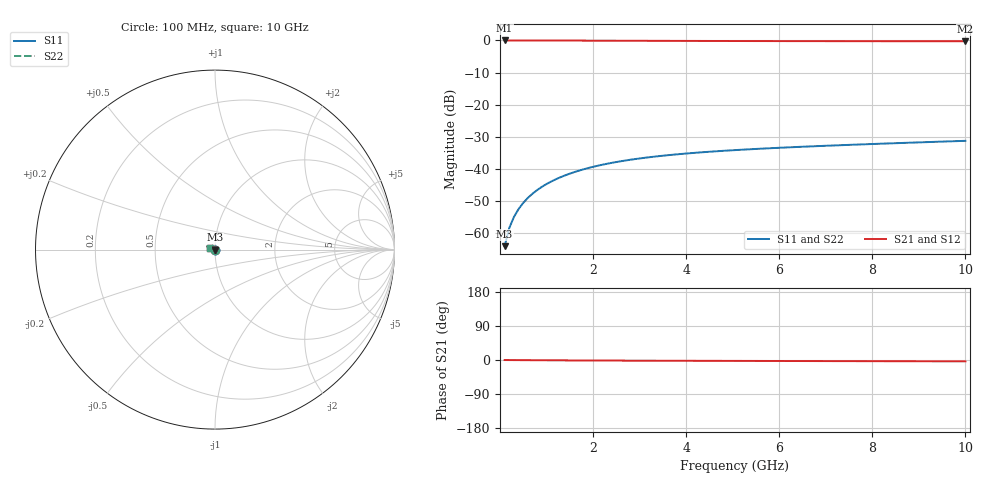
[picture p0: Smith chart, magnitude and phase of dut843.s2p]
! Touchstone file exported from HFSS 2024.1.0
!  File:  C:/UserFiles/LocalFiles/RDL_TSV_Batchsim/temp_TSV1_843_1779880226.aedt
!  Generated:  07:17:01 PM May 27, 2026
!  Design:  TSV1
!  Project:  temp_TSV1_843_1779880226
!  Setup:  Setup1
!  Solution:  Sweep
! Variables:
!  dtsv = 7.33um
!  hbump = 3um
!  htsv = 51.86um
!  lrdl = 252.1521522um
!  p = 40
!  p1 = 46.72um
!  t = 500um
!  trdl = 3um
!  wrdl = 24.89489489um
# GHz S MA R 50.000000
! Terminal data exported
! Port[1] = TSV22_T1
! Port[2] = TSV22_T2
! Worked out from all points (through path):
!   100 points, 100 MHz to 10 GHz, reference 50 ohm
!   highest |S21| = 0.00 dB at 100 MHz (marker M1); lowest = -0.3 dB at 10 GHz (marker M2)
!   lowest |S11| = -64.0 dB at 100 MHz (marker M3), VSWR 1.00, Z = 50 - j0.0604 ohm
!   |S11| at or under -10 dB: start of sweep to end of sweep
!   |S22| runs from -64.0 to -31.2 dB; largest |S21 - S12| = 3.1e-15
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0.1  0.0006324 -72.6  0.9998 -0.1  0.9998 -0.1  0.0006324 -72.6
! Gamma 0 0 0 0
! Port Impedance 50 0 50 0
0.2  0.001211 -84.1  0.9997 -0.2  0.9997 -0.2  0.001211 -84.1
0.3  0.0018 -89.5  0.9996 -0.2  0.9996 -0.2  0.0018 -89.5
0.4  0.00239 -93.2  0.9994 -0.3  0.9994 -0.3  0.00239 -93.2
0.5  0.002979 -96.2  0.9992 -0.4  0.9992 -0.4  0.002979 -96.2
0.6  0.003565 -98.9  0.999 -0.5  0.999 -0.5  0.003565 -98.9
0.7  0.004145 -101.3  0.9987 -0.5  0.9987 -0.5  0.004145 -101.3
0.8  0.00472 -103.6  0.9984 -0.6  0.9984 -0.6  0.00472 -103.6
0.9  0.005287 -105.8  0.998 -0.7  0.998 -0.7  0.005287 -105.8
1.1  0.006396 -109.9  0.9973 -0.8  0.9973 -0.8  0.006396 -109.9
1.4  0.007981 -115.7  0.996 -1.0  0.996 -1.0  0.007981 -115.7
1.6  0.00898 -119.3  0.995 -1.1  0.995 -1.1  0.00898 -119.3
1.8  0.009931 -122.9  0.994 -1.2  0.994 -1.2  0.009931 -122.9
2.1  0.01126 -127.9  0.9925 -1.4  0.9925 -1.4  0.01126 -127.9
2.5  0.01287 -134.2  0.9904 -1.6  0.9904 -1.6  0.01287 -134.2
2.9  0.01429 -140.0  0.9884 -1.7  0.9884 -1.7  0.01429 -140.0
3.4  0.01585 -146.7  0.986 -1.9  0.986 -1.9  0.01585 -146.7
4.2  0.01792 -156.1  0.9827 -2.2  0.9827 -2.2  0.01792 -156.1
5.1  0.01981 -165.3  0.9797 -2.4  0.9797 -2.4  0.01981 -165.3
6.7  0.02255 -178.6  0.976 -2.8  0.976 -2.8  0.02255 -178.6
8.4  0.02511 170.2  0.9733 -3.2  0.9733 -3.2  0.02511 170.2
10  0.02748 161.5  0.9716 -3.6  0.9716 -3.6  0.02748 161.5
